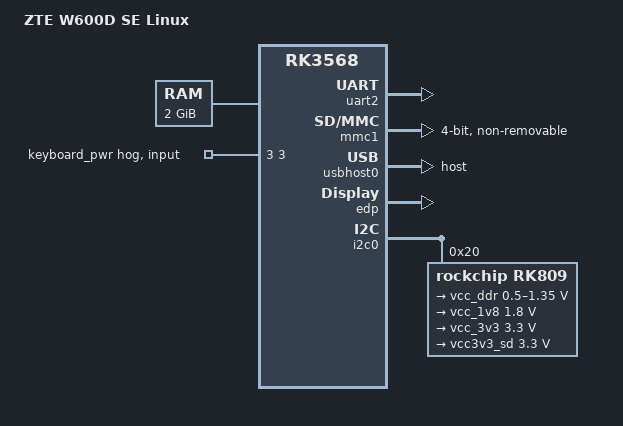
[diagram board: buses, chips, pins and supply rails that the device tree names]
/dts-v1/;

#include <dt-bindings/gpio/gpio.h>
#include <dt-bindings/interrupt/interrupt.h>

/ {
	#address-cells = <2>;
	#size-cells = <2>;
	compatible = "zte,w600d-se", "rockchip,rk3568";
	model = "ZTE W600D SE Linux";

	memory {
		device_type = "memory";
		reg = <0x00 0x00000000 0x00 0x80000000>; /* 2GB - adjustable if needed */
	};

	cpus {
		#address-cells = <2>;
		#size-cells = <0>;
		cpu@0 {
			device_type = "cpu";
			compatible = "arm,cortex-a55";
			reg = <0x00 0x00000000>;
		};
		cpu@100 {
			device_type = "cpu";
			compatible = "arm,cortex-a55";
			reg = <0x00 0x00010000>;
		};
		cpu@200 {
			device_type = "cpu";
			compatible = "arm,cortex-a55";
			reg = <0x00 0x00020000>;
		};
		cpu@300 {
			device_type = "cpu";
			compatible = "arm,cortex-a55";
			reg = <0x00 0x00030000>;
		};
	};

	/* 
	 * Peripherals based on 中兴云电脑.dts 
	 * This is a synthesized DTS for mainline Linux boot.
	 */

	/* Serial console on UART2 */
	uart2: serial@fe660000 {
		compatible = "rockchip,rk3568-uart", "snps,dw-apb-uart";
		reg = <0x00 0xfe660000 0x00 0x100>;
		interrupts = <0x00 0x76 0x04>;
		clocks = <0x00 0x123 0x00 0x120>; /* Placeholder clocks */
		clock-names = "baudclk", "apb_pclk";
		status = "okay";
	};

	/* eMMC on mmc1 */
	mmc1: dwmmc@fe2c0000 {
		compatible = "rockchip,rk3568-dw-mshc", "rockchip,rk3288-dw-mshc";
		reg = <0x00 0xfe2c0000 0x00 0x4000>;
		interrupts = <0x00 0x63 0x04>;
		clocks = <0x00 0x123 0x00 0x124 0x00 0x125>; /* Placeholder */
		clock-names = "biu", "ciu", "ciu-drive", "ciu-sample";
		status = "okay";
		supports-emmc;
		bus-width = <0x4>;
		non-removable;
	};

	/* USB Host for Keyboard/Mouse */
	usbhost0: usbhost@fd000000 {
		compatible = "rockchip,rk3568-dwc3", "rockchip,rk3399-dwc3";
		reg = <0x00 0xfd000000 0x00 0x400000>;
		interrupts = <0x00 0xaa 0x04>;
		dr_mode = "host";
		status = "okay";
	};

	/* eDP Display */
	edp: edp@fe0c0000 {
		compatible = "rockchip,rk3568-edp";
		reg = <0x00 0xfe0c0000 0x00 0x1000>;
		status = "okay";
	};

	/* PMIC and Regulators (RK809) */
	i2c0: i2c@fdd40000 {
		compatible = "rockchip,rk3399-i2c";
		reg = <0x00 0xfdd40000 0x00 0x1000>;
		#address-cells = <1>;
		#size-cells = <0>;
		status = "okay";

		rk809: pmic@20 {
			compatible = "rockchip,rk809";
			reg = <0x20>;
			#address-cells = <1>;
			#size-cells = <0>;
			status = "okay";

			vcc_ddr: regulator@3 {
				regulator-name = "vcc_ddr";
				regulator-min-microvolt = <0x7a120>;
				regulator-max-microvolt = <0x149970>;
				regulator-init-microvolt = <0xdbba0>;
				regulator-always-on;
				regulator-boot-on;
				status = "okay";
			};

			vcc_1v8: regulator@5 {
				regulator-name = "vcc_1v8";
				regulator-min-microvolt = <0x1b7740>;
				regulator-max-microvolt = <0x1b7740>;
				regulator-init-microvolt = <0x1b7740>;
				regulator-always-on;
				regulator-boot-on;
				status = "okay";
			};

			vcc_3v3: regulator@6 {
				regulator-name = "vcc_3v3";
				regulator-min-microvolt = <0x325aa0>;
				regulator-max-microvolt = <0x325aa0>;
				regulator-init-microvolt = <0x325aa0>;
				regulator-always-on;
				regulator-boot-on;
				status = "okay";
			};

			vcc3v3_sd: regulator@7 {
				regulator-name = "vcc3v3_sd";
				regulator-min-microvolt = <0x325aa0>;
				regulator-max-microvolt = <0x325aa0>;
				regulator-init-microvolt = <0x325aa0>;
				regulator-always-on;
				regulator-boot-on;
				status = "okay";
			};
		};
	};

	/* Keyboard Power Hog: GPIO3_A3 */
	keyboard_pwr: keyboard-pwr {
		compatible = "gpio-hog";
		reg = <0x00 0xfe760000 0x00 0x100>;
		gpio-hog;
		gpios = <3 3 GPIO_ACTIVE_HIGH>;
		status = "okay";
	};
};
